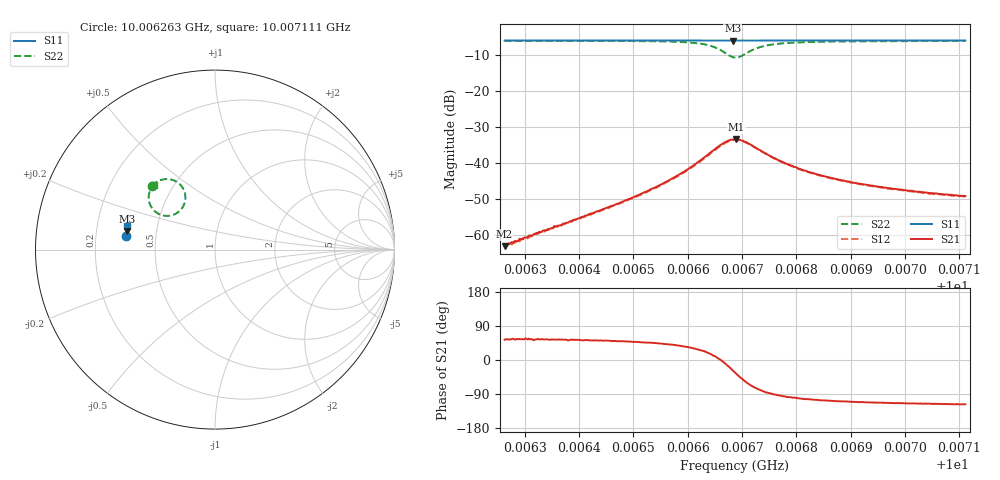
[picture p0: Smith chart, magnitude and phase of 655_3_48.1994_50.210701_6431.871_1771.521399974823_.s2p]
#  HZ  S  RI  R  50.00
! Rohde & Schwarz Vector Network Analyzer
! Rohde-Schwarz,ZNB20-2Port,1311601062101988,3.16
! Created: UTC 3/20/2024, 12:05:30 PM
! freq[Hz]  re:S11  im:S11  re:S21  im:S21  re:S12  im:S12  re:S22  im:S22
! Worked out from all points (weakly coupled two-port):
!   401 points, 10.006263 GHz to 10.007111 GHz, reference 50 ohm
!   highest |S21| = -33.35 dB at 10.006689 GHz (marker M1); lowest = -63.0 dB at 10.006263 GHz (marker M2)
!   lowest |S11| = -6.0 dB at 10.006683 GHz (marker M3), VSWR 3.02, Z = 16.7 + j4.64 ohm
!   |S11| at or under -10 dB: nowhere
!   |S22| runs from -10.7 to -6.0 dB; largest |S21 - S12| = 0.0016
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1.00062631e10  -0.4978 0.0771  0.000421 0.000571  0.000416 0.000613  -0.3529 0.3538
1.00062779e10  -0.4976 0.078  0.00044 0.000658  0.000419 0.000677  -0.3515 0.355
1.0006297e10  -0.4975 0.0793  0.000506 0.000721  0.000507 0.000766  -0.3497 0.3567
1.00063076e10  -0.4975 0.08  0.000547 0.000825  0.000497 0.000792  -0.3489 0.3575
1.00063585e10  -0.497 0.0834  0.00078 0.00108  0.000754 0.00111  -0.3441 0.3622
1.00064052e10  -0.4966 0.0865  0.0011 0.00142  0.00101 0.00147  -0.3384 0.3669
1.00064815e10  -0.4958 0.0914  0.00193 0.00224  0.00176 0.00227  -0.3251 0.3764
1.00065472e10  -0.4949 0.0959  0.00353 0.0034  0.0033 0.00349  -0.3043 0.3866
1.00065981e10  -0.4941 0.0993  0.00664 0.00459  0.00626 0.00478  -0.2704 0.3929
1.00066321e10  -0.4931 0.1018  0.0114 0.00467  0.0108 0.00507  -0.2249 0.3837
1.0006649e10  -0.4927 0.1027  0.0151 0.00287  0.0145 0.00366  -0.1927 0.3607
1.00066639e10  -0.492 0.1033  0.0186 -0.00106  0.018 7e-05  -0.1686 0.3179
1.0006683e10  -0.4915 0.1036  0.019 -0.0099  0.0191 -0.00838  -0.1804 0.2357
1.00066872e10  -0.4916 0.1037  0.018 -0.0116  0.0185 -0.0101  -0.1933 0.2194
1.00066893e10  -0.4915 0.1036  0.0174 -0.0127  0.0179 -0.0111  -0.2008 0.2123
1.00067084e10  -0.492 0.1043  0.00994 -0.0168  0.0109 -0.0157  -0.2796 0.1885
1.00067381e10  -0.4925 0.1063  0.00201 -0.0143  0.003 -0.0141  -0.3499 0.2298
1.00067826e10  -0.4924 0.1094  -0.00138 -0.00969  -0.000815 -0.00969  -0.3694 0.2834
1.00068293e10  -0.492 0.1127  -0.00181 -0.00712  -0.00147 -0.00712  -0.3674 0.3118
1.00069035e10  -0.491 0.1175  -0.00188 -0.00507  -0.00161 -0.0051  -0.3598 0.3347
1.00069714e10  -0.4901 0.122  -0.00178 -0.00416  -0.00157 -0.00413  -0.3532 0.3466
1.00071113e10  -0.4881 0.1309  -0.00158 -0.00314  -0.0014 -0.00315  -0.3426 0.3619
